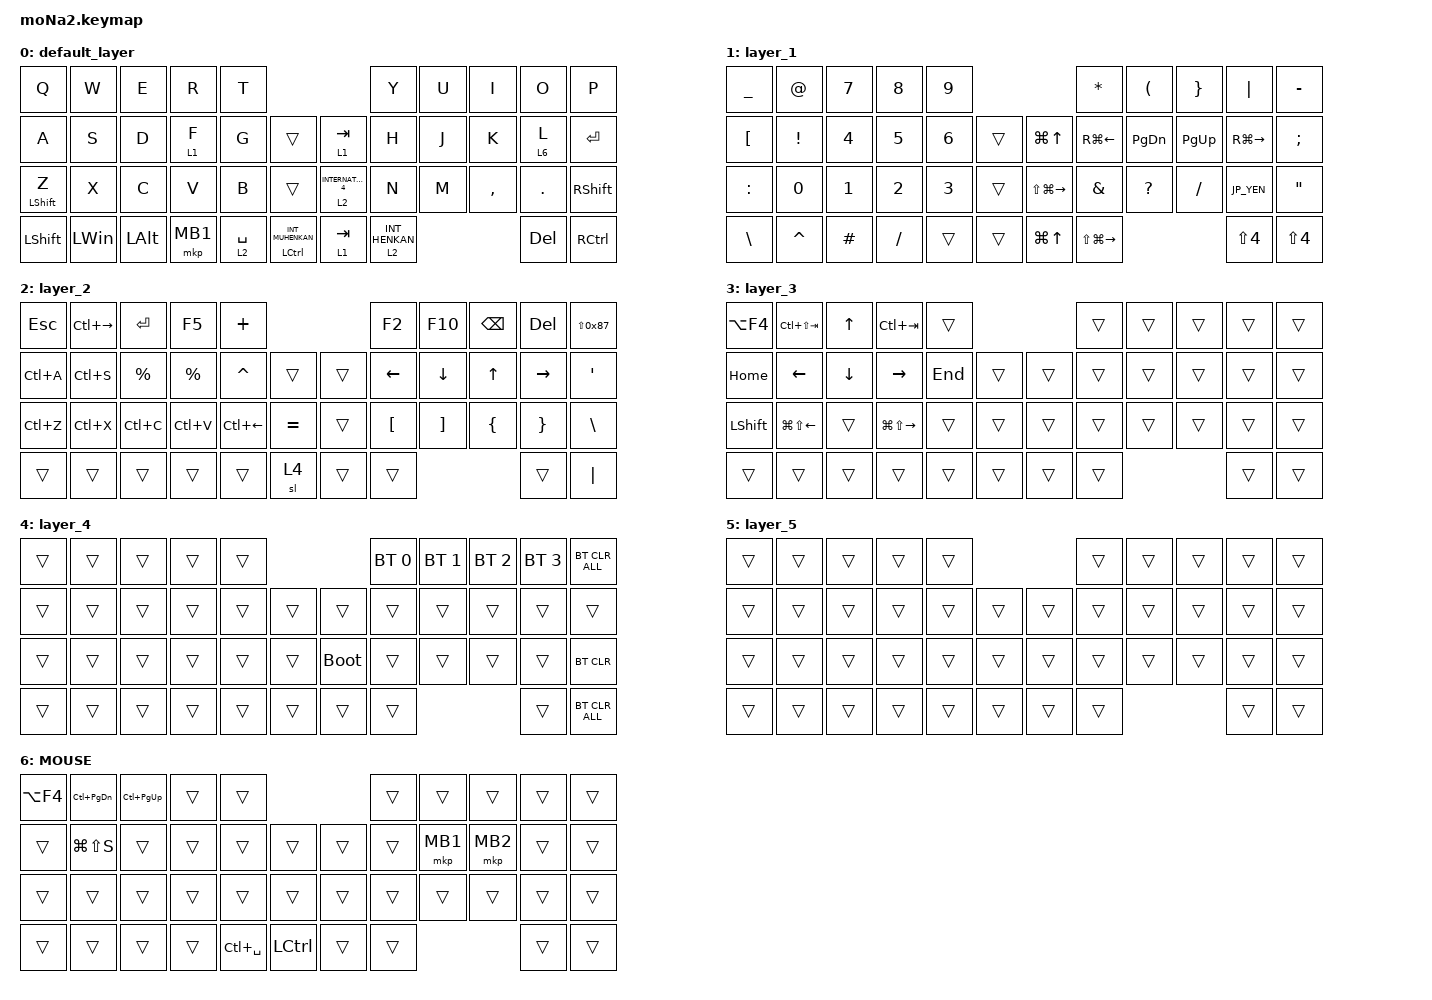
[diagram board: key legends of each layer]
#include <behaviors.dtsi>
#include <dt-bindings/zmk/bt.h>
#include <dt-bindings/zmk/keys.h>
#include <dt-bindings/zmk/pointing.h>

#define ZMK_POINTING_DEFAULT_SCRL_VAL 100
#define MOUSE 6
#define JP_DQUOTE       AT                // "
#define JP_AMPERSAND    CARET             // &
#define JP_QUOTE        AMPERSAND         // '
#define JP_EQUAL        UNDER             // =
#define JP_CARET        EQUAL             // ^
#define JP_YEN          0x89              // ¥
#define JP_PLUS         COLON             // +
#define JP_TILDE        PLUS              // ~
#define JP_PIPE         LS(0x89)          // |
#define JP_AT           LEFT_BRACKET      // @
#define JP_COLON        SINGLE_QUOTE      // :
#define JP_ASTERISK     DOUBLE_QUOTES     // *
#define JP_BACKQUOTE    LEFT_BRACE        // `
#define JP_UNDERSCORE   LS(0x87)          // _
#define JP_LBRACKET     RIGHT_BRACKET     // [
#define JP_RBRACKET     BACKSLASH         // ]
#define JP_LPAREN       ASTERISK          // (
#define JP_RPAREN       LEFT_PARENTHESIS  // )
#define JP_LBRACE       RIGHT_BRACE       // {
#define JP_RBRACE       PIPE              // }


&mt {
    flavor = "balanced";
    quick-tap-ms = <0>;
};

/ {
    combos { compatible = "zmk,combos"; };

    macros {
        to_layer_0: to_layer_0 {
            compatible = "zmk,behavior-macro-one-param";
            #binding-cells = <1>;
            bindings = <&to 0 &macro_param_1to1 &kp MACRO_PLACEHOLDER>;
            label = "TO_LAYER_0";
        };
    };

    behaviors {
        lt_to_layer_0: lt_to_layer_0 {
            compatible = "zmk,behavior-hold-tap";
            label = "LAYER_TAP_TO_0";
            bindings = <&mo>, <&to_layer_0>;

            #binding-cells = <2>;
            tapping-term-ms = <200>;
        };

        scroll_up_down: behavior_sensor_rotate_mouse_wheel_up_down {
            compatible = "zmk,behavior-sensor-rotate";
            #sensor-binding-cells = <0>;
            bindings = <&msc SCRL_UP>, <&msc SCRL_DOWN>;

            tap-ms = <20>;
        };
    };

    keymap {
        compatible = "zmk,keymap";

        default_layer {
            bindings = <
&kp Q             &kp W         &kp E         &kp R     &kp T                                                         &kp Y             &kp U  &kp I      &kp O    &kp P
&kp A             &kp S         &kp D         &lt 1 F   &kp G        &trans                    &lt 1 TAB              &kp H             &kp J  &kp K      &lt 6 L  &kp ENTER
&mt LEFT_SHIFT Z  &kp X         &kp C         &kp V     &kp B        &trans                    &lt 2 INTERNATIONAL_4  &kp N             &kp M  &kp COMMA  &kp DOT  &kp RIGHT_SHIFT
&kp LEFT_SHIFT    &kp LEFT_WIN  &kp LEFT_ALT  &mkp MB1  &lt 2 SPACE  &mt LCTRL INT_MUHENKAN    &lt 1 TAB              &lt 2 INT_HENKAN                    &kp DEL  &kp RCTRL
            >;
        };

        layer_1 {
            bindings = <
&kp JP_EQUAL  &kp JP_DQUOTE  &kp N7  &kp N8  &kp N9                                    &kp JP_LPAREN     &kp JP_RPAREN  &kp JP_LBRACE  &kp JP_RBRACE      &kp MINUS
&kp JP_AT    &kp EXCLAMATION    &kp N4        &kp N5        &kp N6        &trans    &kp LG(UP)            &kp RG(LEFT)       &kp PAGE_DOWN          &kp PAGE_UP     &kp RG(RIGHT)  &kp SEMICOLON
&kp JP_PLUS       &kp N0          &kp N1        &kp N2        &kp N3  &trans    &kp LS(LG(RIGHT))  &kp JP_QUOTE         &kp QUESTION           &kp SLASH       &kp JP_YEN        &kp JP_ASTERISK
&kp BACKSLASH  &kp CARET          &kp HASH         &kp SLASH        &trans           &trans    &kp LG(UP)  &kp LS(LG(RIGHT))                                          &kp LS(N4)               &kp LS(N4)
            >;
        };

        layer_2 {
            bindings = <
&kp ESCAPE  &kp LC(RIGHT)  &kp ENTER    &kp F5       &kp PLUS                                 &kp F2            &kp F10            &kp BACKSPACE   &kp DELETE       &kp JP_UNDERSCORE
&kp LC(A)   &kp LC(S)        &kp PERCENT  &kp PERCENT  &kp JP_AMPERSAND   &trans       &trans  &kp LEFT          &kp DOWN_ARROW     &kp UP_ARROW    &kp RIGHT        &kp JP_COLON
&kp LC(Z)   &kp LC(X)        &kp LC(C)    &kp LC(V)    &kp LC(LEFT)  &kp EQUAL    &trans  &kp LEFT_BRACKET  &kp RIGHT_BRACKET  &kp LEFT_BRACE  &kp RIGHT_BRACE  &kp BACKSLASH
&trans      &trans           &trans       &trans       &trans              &sl 4        &trans  &trans                                               &trans           &kp PIPE
            >;
        };

        layer_3 {
            bindings = <
&kp LA(F4)      &kp LC(LS(TAB))         &kp UP_ARROW    &kp LC(TAB)              &trans                     &trans  &trans  &trans  &trans  &trans
&kp HOME        &kp LEFT_ARROW          &kp DOWN_ARROW  &kp RIGHT_ARROW          &kp END  &trans    &trans  &trans  &trans  &trans  &trans  &trans
&kp LEFT_SHIFT  &kp LG(LS(LEFT_ARROW))  &trans          &kp LG(LS(RIGHT_ARROW))  &trans   &trans    &trans  &trans  &trans  &trans  &trans  &trans
&trans          &trans                  &trans          &trans                   &trans   &trans    &trans  &trans                  &trans  &trans
            >;
        };

        layer_4 {
            bindings = <
&trans  &trans  &trans  &trans  &trans                         &bt BT_SEL 0  &bt BT_SEL 1  &bt BT_SEL 2  &bt BT_SEL 3  &bt BT_CLR_ALL
&trans  &trans  &trans  &trans  &trans  &trans    &trans       &trans        &trans        &trans        &trans        &trans
&trans  &trans  &trans  &trans  &trans  &trans    &bootloader  &trans        &trans        &trans        &trans        &bt BT_CLR
&trans  &trans  &trans  &trans  &trans  &trans    &trans       &trans                                    &trans        &bt BT_CLR_ALL
            >;
        };

        layer_5 {
            bindings = <
&trans  &trans  &trans  &trans  &trans                    &trans  &trans  &trans  &trans  &trans
&trans  &trans  &trans  &trans  &trans  &trans    &trans  &trans  &trans  &trans  &trans  &trans
&trans  &trans  &trans  &trans  &trans  &trans    &trans  &trans  &trans  &trans  &trans  &trans
&trans  &trans  &trans  &trans  &trans  &trans    &trans  &trans                  &trans  &trans
            >;
        };

        MOUSE {
            bindings = <
&kp LA(F4)  &kp LC(PAGE_DOWN)  &kp LC(PAGE_UP)  &trans  &trans                    &trans  &trans    &trans    &trans  &trans
&trans  &kp LG(LS(S))  &trans  &trans  &trans  &trans    &trans  &trans  &mkp MB1  &mkp MB2  &trans  &trans
&trans  &trans  &trans  &trans  &trans  &trans    &trans  &trans  &trans    &trans    &trans  &trans
&trans  &trans  &trans  &trans   &kp LC(SPACE)  &kp LCTRL    &trans  &trans                      &trans  &trans
            >;
        };
    };
};
